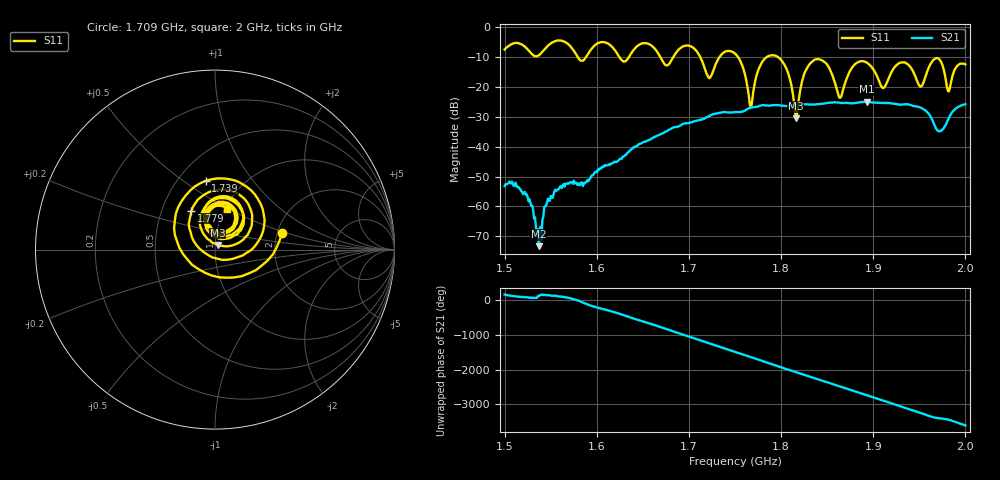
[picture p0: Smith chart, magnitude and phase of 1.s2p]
! NanoVNA-App by SYSJOINT et al v1.1.209 (+OD18)
! Date: 2026-01-21 14:06:35
! Start: 1,5GHz Stop: 2GHz Points: 501
! S-Parameter data: F S11 S21 S12 S22
# Hz S RI R 50
!  Frequency  S11_Real  S11_Imag  S21_Real  S21_Imag  S12_Real  S12_Imag  S22_Real  S22_Imag
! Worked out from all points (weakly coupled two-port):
!   501 points, 1.5 GHz to 2 GHz, reference 50 ohm
!   highest |S21| = -24.97 dB at 1.893 GHz (marker M1); lowest = -73.3 dB at 1.537 GHz (marker M2)
!   lowest |S11| = -30.5 dB at 1.816 GHz (marker M3), VSWR 1.06, Z = 51.5 + j2.61 ohm
!   |S11| at or under -10 dB: 1.712 GHz to 1.733 GHz (20.94 MHz wide, 1.22 % of centre); 1.753 GHz to 1.784 GHz (31.07 MHz wide, 1.76 % of centre); 1.797 GHz to end of sweep (the widest 3 of 6)
!   S12 and S22 are empty: the file has one direction only
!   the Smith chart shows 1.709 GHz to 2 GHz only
!   S11 on the Smith chart (normalised r, x): 1.709 GHz: 2.12, +0.46; 1.739 GHz: 0.68, +0.61; 1.779 GHz: 0.70, +0.33; 2 GHz: 1.02, +0.49
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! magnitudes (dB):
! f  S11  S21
! 1.5 GHz  -7.5  -53.2
! 1.523 GHz  -6.8  -56.1
! 1.537 GHz  -9.4  -73.3
! 1.555 GHz  -4.7  -54.4
! 1.584 GHz  -11.2  -52.0
! 1.667 GHz  -9.0  -36.1
! 1.709 GHz  -8.3  -31.3
! 1.722 GHz  -17.1  -29.7
! 1.739 GHz  -8.2  -28.4
! 1.75 GHz  -8.9  -28.4
! 1.767 GHz  -26.7  -26.9
! 1.779 GHz  -11.9  -26.1
! 1.802 GHz  -11.8  -26.3
! 1.816 GHz  -30.5  -26.0
! 1.834 GHz  -11.5  -25.9
! 1.864 GHz  -23.6  -25.3
! 1.893 GHz  -11.9  -25.0
! 1.917 GHz  -17.0  -25.4
! 1.952 GHz  -19.9  -27.0
! 1.972 GHz  -10.8  -34.9
! 1.982 GHz  -21.5  -30.5
! 2 GHz  -12.5  -25.8
